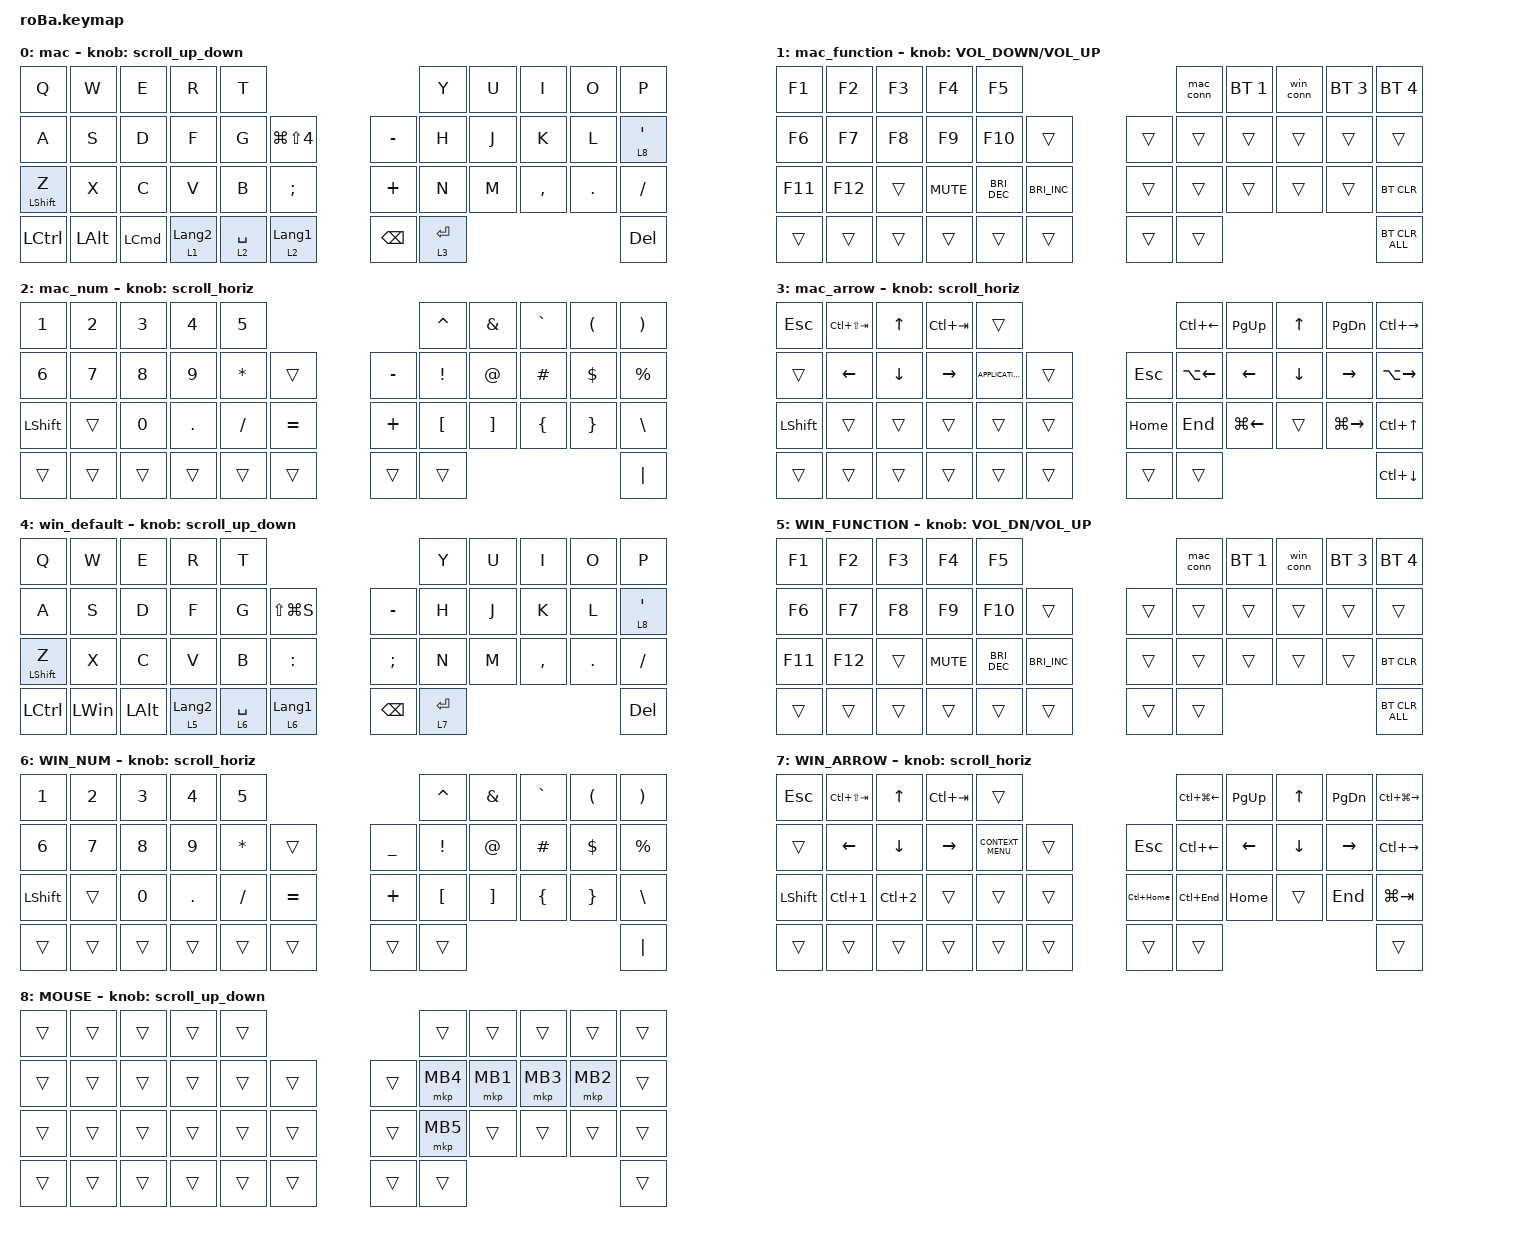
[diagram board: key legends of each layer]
#define ZMK_POINTING_DEFAULT_SCRL_VAL 80

#include <dt-bindings/zmk/mouse.h>     // SCRL_UP/DOWN など &msc 用（使うなら）
#include <behaviors.dtsi>
#include <dt-bindings/zmk/bt.h>
#include <dt-bindings/zmk/keys.h>
#include <dt-bindings/zmk/pointing.h>

&mt {
    flavor = "balanced";
    quick-tap-ms = <0>;
};

&trackball {
    // arrows {
    //     layers = <3>;
    //     bindings =
    //         <&kp RIGHT_ARROW>,
    //         <&kp LEFT_ARROW>,
    //         <&kp UP_ARROW>,
    //         <&kp DOWN_ARROW>;
    //     tick = <10>;
    //     wait-ms = <5>;
    //     tap-ms = <5>;
    // };
};

/ {
    combos {
        compatible = "zmk,combos";

        tab {
            bindings = <&kp TAB>;
            key-positions = <11 12>;
        };

        shift_tab {
            bindings = <&kp LS(TAB)>;
            key-positions = <10 11>;
        };

        double_quotation {
            bindings = <&kp DOUBLE_QUOTES>;
            key-positions = <20 21>;
        };

        eq {
            bindings = <&kp EQUAL>;
            key-positions = <24 25>;
        };

        esc {
            bindings = <&kp ESCAPE>;
            key-positions = <0 1>;
        };
    };

    macros {
        to_layer_win: to_layer_win {
            compatible = "zmk,behavior-macro-one-param";
            #binding-cells = <1>;
            bindings = <&to 4 &macro_param_1to1 &kp MACRO_PLACEHOLDER>;
            label = "TO_LAYER_WIN";
        };

        to_layer_mac: to_layer_mac {
            compatible = "zmk,behavior-macro-one-param";
            #binding-cells = <1>;
            bindings = <&to 0 &macro_param_1to1 &kp MACRO_PLACEHOLDER>;
            label = "TO_LAYER_MAC";
        };
    };

    behaviors {
        lt_to_layer_win: lt_to_layer_win {
            compatible = "zmk,behavior-hold-tap";
            label = "LAYER_TAP_TO_WIN";
            bindings = <&mo>, <&to_layer_win>;

            #binding-cells = <2>;
            tapping-term-ms = <200>;
        };

        lt_to_layer_mac: lt_to_layer_mac {
            compatible = "zmk,behavior-hold-tap";
            label = "LAYER_TAP_TO_MAC";
            bindings = <&mo>, <&to_layer_mac>;

            #binding-cells = <2>;
            tapping-term-ms = <200>;
        };

        scroll_up_down: behavior_sensor_rotate_mouse_wheel_up_down {
            compatible = "zmk,behavior-sensor-rotate";
            #sensor-binding-cells = <0>;

            /* CCW, CW */

            bindings = <&msc SCRL_DOWN>, <&msc SCRL_UP>;

            tap-ms = <30>;   /* 20→30 に一旦上げる（間引き/相殺対策） */
        };

        /* エンコーダ回転 → 横スクロール（CCW, CW の順） */

        scroll_horiz: scroll_horiz {
            compatible = "zmk,behavior-sensor-rotate";
            #sensor-binding-cells = <0>;
            bindings = <&msc SCRL_LEFT>, <&msc SCRL_RIGHT>;

            tap-ms = <30>;   /* 好みで 20〜40 に調整 */
        };

        mac_conn: mac_conn {
            compatible = "zmk,behavior-macro";
            label = "MAC_CONNECT";
            #binding-cells = <0>;
            wait-ms = <300>;
            bindings = <&bt BT_SEL 2 &to 0>;
        };

        win_conn: win_conn {
            compatible = "zmk,behavior-macro";
            label = "WIN_CONNECT";
            #binding-cells = <0>;
            wait-ms = <300>;
            bindings = <&bt BT_SEL 0 &to 4>;
        };
    };

    keymap {
        compatible = "zmk,keymap";

        mac_default {
            bindings = <
&kp Q             &kp W         &kp E             &kp R                          &kp T                                                          &kp Y        &kp U  &kp I      &kp O    &kp P
&kp A             &kp S         &kp D             &kp F                          &kp G        &kp LG(LS(NUMBER_4))               &kp MINUS      &kp H        &kp J  &kp K      &kp L    &lt 8 SQT
&mt LEFT_SHIFT Z  &kp X         &kp C             &kp V                          &kp B        &kp SEMICOLON                      &kp PLUS       &kp N        &kp M  &kp COMMA  &kp DOT  &kp SLASH
&kp LCTRL         &kp LEFT_ALT  &kp LEFT_COMMAND  &lt_to_layer_mac 1 LANGUAGE_2  &lt 2 SPACE  &lt_to_layer_mac 2 LANGUAGE_1      &kp BACKSPACE  &lt 3 ENTER                             &kp DEL
            >;

            sensor-bindings = <&scroll_up_down>;
            label = "mac";
        };

        mac_function {
            bindings = <
&kp F1   &kp F2   &kp F3  &kp F4      &kp F5                                                  &mac_conn  &bt BT_SEL 1  &win_conn  &bt BT_SEL 3  &bt BT_SEL 4
&kp F6   &kp F7   &kp F8  &kp F9      &kp F10               &trans                    &trans  &trans     &trans        &trans     &trans        &trans
&kp F11  &kp F12  &trans  &kp K_MUTE  &kp C_BRIGHTNESS_DEC  &kp C_BRIGHTNESS_INC      &trans  &trans     &trans        &trans     &trans        &bt BT_CLR
&trans   &trans   &trans  &trans      &trans                &trans                    &trans  &trans                                            &bt BT_CLR_ALL
            >;

            sensor-bindings = <&inc_dec_kp C_VOLUME_DOWN C_VOLUME_UP>;
        };

        mac_num {
            bindings = <
&kp NUMBER_1    &kp NUMBER_2  &kp NUMBER_3  &kp NUMBER_4  &kp N5                                  &kp CARET         &kp AMPERSAND      &kp GRAVE       &kp LEFT_PARENTHESIS  &kp RIGHT_PARENTHESIS
&kp NUMBER_6    &kp N7        &kp N8        &kp N9        &kp ASTERISK  &trans         &kp MINUS  &kp EXCLAMATION   &kp AT_SIGN        &kp HASH        &kp DOLLAR            &kp PERCENT
&kp LEFT_SHIFT  &trans        &kp N0        &kp PERIOD    &kp SLASH     &kp EQUAL      &kp PLUS   &kp LEFT_BRACKET  &kp RIGHT_BRACKET  &kp LEFT_BRACE  &kp RIGHT_BRACE       &kp BACKSLASH
&trans          &trans        &trans        &trans        &trans        &trans         &trans     &trans                                                                     &kp PIPE
            >;

            sensor-bindings = <&scroll_horiz>;
        };

        mac_arrow {
            bindings = <
&kp ESCAPE      &kp LC(LS(TAB))  &kp UP_ARROW    &kp LC(TAB)      &trans                                     &kp LC(LEFT)  &kp PG_UP           &kp UP_ARROW  &kp PAGE_DOWN  &kp LC(RIGHT)
&trans          &kp LEFT_ARROW   &kp DOWN_ARROW  &kp RIGHT_ARROW  &kp K_APPLICATION  &trans      &kp ESCAPE  &kp LA(LEFT)  &kp LEFT_ARROW      &kp DOWN      &kp RIGHT      &kp LA(RIGHT)
&kp LEFT_SHIFT  &trans           &trans          &trans           &trans             &trans      &kp HOME    &kp END       &kp LG(LEFT_ARROW)  &trans        &kp LG(RIGHT)  &kp LC(UP_ARROW)
&trans          &trans           &trans          &trans           &trans             &trans      &trans      &trans                                                         &kp LC(DOWN_ARROW)
            >;

            sensor-bindings = <&scroll_horiz>;
        };

        win_default {
            bindings = <
&kp Q             &kp W         &kp E         &kp R                          &kp T                                                          &kp Y        &kp U  &kp I      &kp O    &kp P
&kp A             &kp S         &kp D         &kp F                          &kp G        &kp LS(LG(S))                      &kp MINUS      &kp H        &kp J  &kp K      &kp L    &lt 8 SQT
&mt LEFT_SHIFT Z  &kp X         &kp C         &kp V                          &kp B        &kp COLON                          &kp SEMICOLON  &kp N        &kp M  &kp COMMA  &kp DOT  &kp SLASH
&kp LCTRL         &kp LEFT_WIN  &kp LEFT_ALT  &lt_to_layer_win 5 LANGUAGE_2  &lt 6 SPACE  &lt_to_layer_win 6 LANGUAGE_1      &kp BACKSPACE  &lt 7 ENTER                             &kp DEL
            >;

            sensor-bindings = <&scroll_up_down>;
        };

        WIN_FUNCTION {
            bindings = <
&kp F1   &kp F2   &kp F3  &kp F4      &kp F5                                                  &mac_conn  &bt BT_SEL 1  &win_conn  &bt BT_SEL 3  &bt BT_SEL 4
&kp F6   &kp F7   &kp F8  &kp F9      &kp F10               &trans                    &trans  &trans     &trans        &trans     &trans        &trans
&kp F11  &kp F12  &trans  &kp K_MUTE  &kp C_BRIGHTNESS_DEC  &kp C_BRIGHTNESS_INC      &trans  &trans     &trans        &trans     &trans        &bt BT_CLR
&trans   &trans   &trans  &trans      &trans                &trans                    &trans  &trans                                            &bt BT_CLR_ALL
            >;

            sensor-bindings = <&inc_dec_kp C_VOL_DN C_VOLUME_UP>;
        };

        WIN_NUM {
            bindings = <
&kp NUMBER_1    &kp NUMBER_2  &kp NUMBER_3  &kp NUMBER_4  &kp N5                                       &kp CARET         &kp AMPERSAND      &kp GRAVE       &kp LEFT_PARENTHESIS  &kp RIGHT_PARENTHESIS
&kp NUMBER_6    &kp N7        &kp N8        &kp N9        &kp ASTERISK  &trans         &kp UNDERSCORE  &kp EXCLAMATION   &kp AT_SIGN        &kp HASH        &kp DOLLAR            &kp PERCENT
&kp LEFT_SHIFT  &trans        &kp N0        &kp PERIOD    &kp SLASH     &kp EQUAL      &kp PLUS        &kp LEFT_BRACKET  &kp RIGHT_BRACKET  &kp LEFT_BRACE  &kp RIGHT_BRACE       &kp BACKSLASH
&trans          &trans        &trans        &trans        &trans        &trans         &trans          &trans                                                                     &kp PIPE
            >;

            sensor-bindings = <&scroll_horiz>;
        };

        WIN_ARROW {
            bindings = <
&kp ESCAPE      &kp LC(LS(TAB))   &kp UP_ARROW      &kp LC(TAB)      &trans                                        &kp LC(LG(LEFT))  &kp PG_UP       &kp UP_ARROW  &kp PAGE_DOWN  &kp LC(LG(RIGHT))
&trans          &kp LEFT_ARROW    &kp DOWN_ARROW    &kp RIGHT_ARROW  &kp K_CONTEXT_MENU  &trans      &kp ESCAPE    &kp LC(LEFT)      &kp LEFT_ARROW  &kp DOWN      &kp RIGHT      &kp LC(RIGHT)
&kp LEFT_SHIFT  &kp LC(NUMBER_1)  &kp LC(NUMBER_2)  &trans           &trans              &trans      &kp LC(HOME)  &kp LC(END)       &kp HOME        &trans        &kp END        &kp LG(TAB)
&trans          &trans            &trans            &trans           &trans              &trans      &trans        &trans                                                         &trans
            >;

            sensor-bindings = <&scroll_horiz>;
        };

        MOUSE {
            bindings = <
&trans  &trans  &trans  &trans  &trans                      &trans    &trans    &trans    &trans    &trans
&trans  &trans  &trans  &trans  &trans  &trans      &trans  &mkp MB4  &mkp MB1  &mkp MB3  &mkp MB2  &trans
&trans  &trans  &trans  &trans  &trans  &trans      &trans  &mkp MB5  &trans    &trans    &trans    &trans
&trans  &trans  &trans  &trans  &trans  &trans      &trans  &trans                                  &trans
            >;

            sensor-bindings = <&scroll_up_down>;
        };
    };
};
